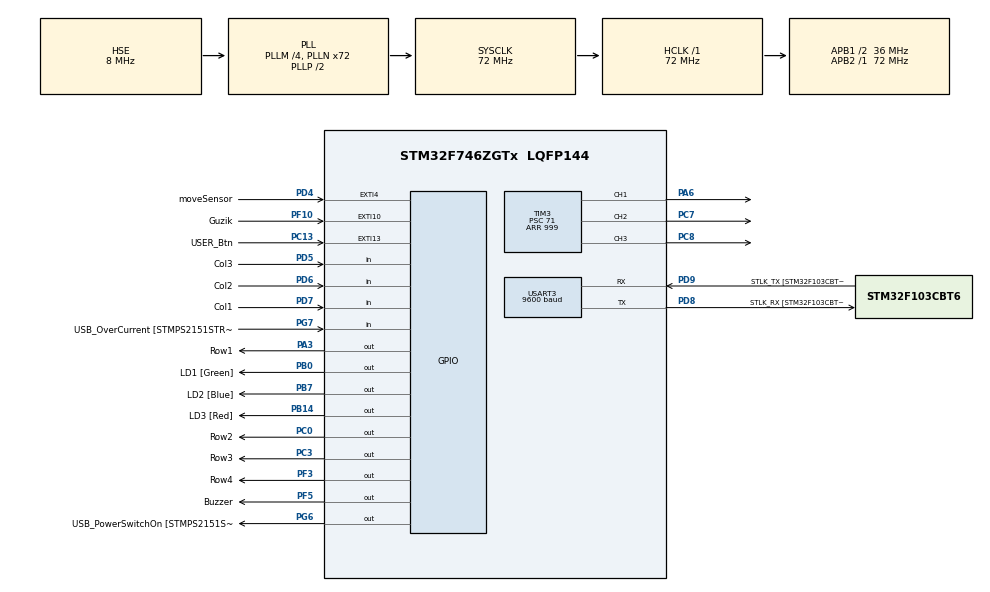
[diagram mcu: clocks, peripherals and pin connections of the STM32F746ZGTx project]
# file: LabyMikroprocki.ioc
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Mcu.Family=STM32F7
Mcu.Name=STM32F746ZGTx
Mcu.Package=LQFP144
NVIC.EXTI15_10_IRQn=true\:0\:0\:false\:false\:true\:true\:true\:true
NVIC.EXTI4_IRQn=true\:0\:0\:false\:false\:true\:true\:true\:true
NVIC.PriorityGroup=NVIC_PRIORITYGROUP_4
NVIC.RCC_IRQn=true\:0\:0\:false\:false\:true\:true\:false\:true
NVIC.TIM2_IRQn=true\:0\:0\:false\:false\:true\:true\:true\:true
NVIC.USART3_IRQn=true\:0\:0\:false\:false\:true\:true\:true\:true
PA1.GPIO_Label=RMII_REF_CLK [LAN8742A-CZ-TR_REFCLK0]
PA1.Signal=ETH_REF_CLK
PA10.GPIO_Label=USB_ID
PA10.Signal=USB_OTG_FS_ID
PA11.GPIO_Label=USB_DM
PA11.Signal=USB_OTG_FS_DM
PA12.GPIO_Label=USB_DP
PA12.Signal=USB_OTG_FS_DP
PA13.GPIO_Label=TMS
PA13.Mode=Serial_Wire
PA13.Signal=SYS_JTMS-SWDIO
PA14.GPIO_Label=TCK
PA14.Mode=Serial_Wire
PA14.Signal=SYS_JTCK-SWCLK
PA2.GPIO_Label=RMII_MDIO [LAN8742A-CZ-TR_MDIO]
PA2.Signal=ETH_MDIO
PA3.GPIO_Label=Row1
PA3.Signal=GPIO_Output
PA6.Signal=S_TIM3_CH1
PA7.GPIO_Label=RMII_CRS_DV [LAN8742A-CZ-TR_CRS_DV]
PA7.Signal=ETH_CRS_DV
PA8.GPIO_Label=USB_SOF [TP1]
PA8.Signal=USB_OTG_FS_SOF
PA9.GPIO_Label=USB_VBUS
PA9.Signal=USB_OTG_FS_VBUS
PB0.GPIO_Label=LD1 [Green]
PB0.Signal=GPIO_Output
PB13.GPIO_Label=RMII_TXD1 [LAN8742A-CZ-TR_TXD1]
PB13.Signal=ETH_TXD1
PB14.GPIO_Label=LD3 [Red]
PB14.Signal=GPIO_Output
PB3.GPIO_Label=SW0
PB3.Signal=SYS_JTDO-SWO
PB7.GPIO_Label=LD2 [Blue]
PB7.Signal=GPIO_Output
PC0.GPIO_Label=Row2
PC0.Signal=GPIO_Output
PC1.GPIO_Label=RMII_MDC [LAN8742A-CZ-TR_MDC]
PC1.Signal=ETH_MDC
PC13.GPIO_Label=USER_Btn
PC13.Signal=GPXTI13
PC14/OSC32_IN.Mode=LSE-External-Oscillator
PC14/OSC32_IN.Signal=RCC_OSC32_IN
PC15/OSC32_OUT.Mode=LSE-External-Oscillator
PC15/OSC32_OUT.Signal=RCC_OSC32_OUT
PC3.GPIO_Label=Row3
PC3.Signal=GPIO_Output
PC4.GPIO_Label=RMII_RXD0 [LAN8742A-CZ-TR_RXD0]
PC4.Signal=ETH_RXD0
PC5.GPIO_Label=RMII_RXD1 [LAN8742A-CZ-TR_RXD1]
PC5.Signal=ETH_RXD1
PC7.Signal=S_TIM3_CH2
PC8.Signal=S_TIM3_CH3
PD4.GPIO_Label=moveSensor
PD4.Signal=GPXTI4
PD5.GPIO_Label=Col3
PD5.Signal=GPIO_Input
PD6.GPIO_Label=Col2
PD6.Signal=GPIO_Input
PD7.GPIO_Label=Col1
PD7.Signal=GPIO_Input
PD8.GPIO_Label=STLK_RX [STM32F103CBT6_PA3]
PD8.GPIO_PuPd=GPIO_PULLUP
PD8.Mode=Asynchronous
PD8.Signal=USART3_TX
PD9.GPIO_Label=STLK_TX [STM32F103CBT6_PA2]
PD9.GPIO_PuPd=GPIO_PULLUP
PD9.Mode=Asynchronous
PD9.Signal=USART3_RX
PF10.GPIO_Label=Guzik
PF10.Signal=GPXTI10
PF3.GPIO_Label=Row4
PF3.Signal=GPIO_Output
PF5.GPIO_Label=Buzzer
PF5.PinState=GPIO_PIN_SET
PF5.Signal=GPIO_Output
PG11.GPIO_Label=RMII_TX_EN [LAN8742A-CZ-TR_TXEN]
PG11.Signal=ETH_TX_EN
PG13.GPIO_Label=RMII_TXD0 [LAN8742A-CZ-TR_TXD0]
PG13.Signal=ETH_TXD0
PG6.GPIO_Label=USB_PowerSwitchOn [STMPS2151STR_EN]
PG6.PinState=GPIO_PIN_RESET
PG6.Signal=GPIO_Output
PG7.GPIO_Label=USB_OverCurrent [STMPS2151STR_FAULT]
PG7.Signal=GPIO_Input
PH0/OSC_IN.GPIO_Label=MCO [STM32F103CBT6_PA8]
PH0/OSC_IN.Mode=HSE-External-Clock-Source
PH0/OSC_IN.Signal=RCC_OSC_IN
PH1/OSC_OUT.Mode=HSE-External-Clock-Source
PH1/OSC_OUT.Signal=RCC_OSC_OUT
ProjectManager.HeapSize=0x200
ProjectManager.StackSize=0x400
ProjectManager.TargetToolchain=STM32CubeIDE
RCC.48MHZClocksFreq_Value=24000000
RCC.AHBFreq_Value=72000000
RCC.APB1CLKDivider=RCC_HCLK_DIV2
RCC.APB1Freq_Value=36000000
RCC.APB1TimFreq_Value=72000000
RCC.APB2Freq_Value=72000000
RCC.APB2TimFreq_Value=72000000
RCC.CortexFreq_Value=72000000
RCC.HCLKFreq_Value=72000000
RCC.HSE_VALUE=8000000
RCC.HSI_VALUE=16000000
RCC.PLLM=4
RCC.PLLMUL=RCC_PLL_MUL9
RCC.PLLN=72
RCC.PLLQ=3
RCC.PLLSourceVirtual=RCC_PLLSOURCE_HSE
RCC.PRESCALERUSB=RCC_USBCLKSOURCE_PLL_DIV1_5
RCC.SYSCLKFreq_VALUE=72000000
RCC.SYSCLKSource=RCC_SYSCLKSOURCE_PLLCLK
RCC.SYSCLKSourceVirtual=RCC_SYSCLKSOURCE_PLLCLK
RCC.USBFreq_Value=48000000
RCC.VCOOutputFreq_Value=144000000
SH.S_TIM3_CH1.0=TIM3_CH1,PWM Generation1 CH1
SH.S_TIM3_CH2.0=TIM3_CH2,PWM Generation2 CH2
SH.S_TIM3_CH3.0=TIM3_CH3,PWM Generation3 CH3
TIM2.Period=299999
TIM2.Prescaler=7199
TIM3.Channel-PWM\ Generation1\ CH1=TIM_CHANNEL_1
TIM3.Channel-PWM\ Generation2\ CH2=TIM_CHANNEL_2
TIM3.Channel-PWM\ Generation3\ CH3=TIM_CHANNEL_3
TIM3.Period=999
TIM3.Prescaler=71
USART3.BaudRate=9600
USART3.VirtualMode-Asynchronous=VM_ASYNC
VP_TIM2_VS_ClockSourceINT.Mode=Internal
VP_TIM3_VS_ClockSourceINT.Mode=Internal
board=NUCLEO-F746ZG

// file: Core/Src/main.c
/* USER CODE BEGIN Header */
/**
 ******************************************************************************
 * @file           : main.c
 * @brief          : Main program body
 ******************************************************************************
 * @attention
 *
 * Copyright (c) 2023 STMicroelectronics.
 * All rights reserved.
 *
 * This software is licensed under terms that can be found in the LICENSE file
 * in the root directory of this software component.
 * If no LICENSE file comes with this software, it is provided AS-IS.
 *
 ******************************************************************************
 */
/* USER CODE END Header */
#include "main.h"
#include "tim.h"
#include "usart.h"
#include "gpio.h"

/* USER CODE BEGIN Includes */
#include "string.h"
/* USER CODE END Includes */

void SystemClock_Config(void);

/* USER CODE BEGIN 0 */
char moveDetectedMessage[] = "Move detected!\n";
char badPinMessage[] = "Bad pin!\n";
char goodPinMessage[] = "Good pin!\n";
char activatedBuzzerMessage[] = "Buzzer has been activated!\n";
uint8_t keyboard;
uint8_t codeSet[4];
uint8_t codeSetIndex = 0;
uint8_t codeUser[4];
uint8_t codeUserIndex = 0;
uint8_t phase = 0;
uint8_t firstTrigger = 0;

void activateBuzzer(void);
void deactivateBuzzer(void);
void phase0LED(void);
void phase1LED(void);
void phase2LED(void);
void activatedBuzzerLED(void);

void HAL_GPIO_EXTI_Callback(uint16_t GPIO_Pin) {
	if (GPIO_Pin == moveSensor_Pin) {
		HAL_UART_Transmit(&huart3, (uint8_t*) moveDetectedMessage,
				strlen(moveDetectedMessage), 1000);
		if (phase == 2) {
			activateBuzzer();
			activatedBuzzerLED();
		}
	}
}

void HAL_TIM_PeriodElapsedCallback(TIM_HandleTypeDef *htim) {
	if (htim == &htim2) {
		if (firstTrigger == 0) {
			firstTrigger++;
			return;
		}
		HAL_UART_Transmit(&huart3, (uint8_t*) activatedBuzzerMessage, strlen(activatedBuzzerMessage),
				1000);
		if (HAL_GPIO_ReadPin(moveSensor_GPIO_Port, moveSensor_Pin) == 1) {
			activateBuzzer();
		}

		firstTrigger = 0;
		phase = 2;
		phase2LED();
		HAL_TIM_Base_Stop_IT(&htim2);
	}
}

void activateBuzzer(void) {
	HAL_GPIO_WritePin(Buzzer_GPIO_Port, Buzzer_Pin, 0);
}

void deactivateBuzzer(void) {
	HAL_GPIO_WritePin(Buzzer_GPIO_Port, Buzzer_Pin, 1);
}

char readKeypad(void) {
	/* Make ROW 1 LOW and all other ROWs HIGH */
	HAL_GPIO_WritePin(Row1_GPIO_Port, Row1_Pin, GPIO_PIN_RESET); //Pull the R1 low
	HAL_GPIO_WritePin(Row2_GPIO_Port, Row2_Pin, GPIO_PIN_SET); // Pull the R2 High
	HAL_GPIO_WritePin(Row3_GPIO_Port, Row3_Pin, GPIO_PIN_SET); // Pull the R3 High
	HAL_GPIO_WritePin(Row4_GPIO_Port, Row4_Pin, GPIO_PIN_SET); // Pull the R4 High

	if (!(HAL_GPIO_ReadPin(Col1_GPIO_Port, Col1_Pin)))   // if the Col 1 is low
	{
		while (!(HAL_GPIO_ReadPin(Col1_GPIO_Port, Col1_Pin)))
			;   // wait till the button is pressed
		return '1';
	}

	if (!(HAL_GPIO_ReadPin(Col2_GPIO_Port, Col2_Pin)))   // if the Col 2 is low
	{
		while (!(HAL_GPIO_ReadPin(Col2_GPIO_Port, Col2_Pin)))
			;   // wait till the button is pressed
		return '2';
	}

	if (!(HAL_GPIO_ReadPin(Col3_GPIO_Port, Col3_Pin)))   // if the Col 3 is low
	{
		while (!(HAL_GPIO_ReadPin(Col3_GPIO_Port, Col3_Pin)))
			;   // wait till the button is pressed
		return '3';
	}

	/* Make ROW 2 LOW and all other ROWs HIGH */
	HAL_GPIO_WritePin(Row1_GPIO_Port, Row1_Pin, GPIO_PIN_SET); //Pull the R1 low
	HAL_GPIO_WritePin(Row2_GPIO_Port, Row2_Pin, GPIO_PIN_RESET); // Pull the R2 High
	HAL_GPIO_WritePin(Row3_GPIO_Port, Row3_Pin, GPIO_PIN_SET); // Pull the R3 High
	HAL_GPIO_WritePin(Row4_GPIO_Port, Row4_Pin, GPIO_PIN_SET); // Pull the R4 High

	if (!(HAL_GPIO_ReadPin(Col1_GPIO_Port, Col1_Pin)))   // if the Col 1 is low
	{
		while (!(HAL_GPIO_ReadPin(Col1_GPIO_Port, Col1_Pin)))
			;   // wait till the button is pressed
		return '4';
	}

	if (!(HAL_GPIO_ReadPin(Col2_GPIO_Port, Col2_Pin)))   // if the Col 2 is low
	{
		while (!(HAL_GPIO_ReadPin(Col2_GPIO_Port, Col2_Pin)))
			;   // wait till the button is pressed
		return '5';
	}

	if (!(HAL_GPIO_ReadPin(Col3_GPIO_Port, Col3_Pin)))   // if the Col 3 is low
	{
		while (!(HAL_GPIO_ReadPin(Col3_GPIO_Port, Col3_Pin)))
			;   // wait till the button is pressed
		return '6';
	}

	/* Make ROW 3 LOW and all other ROWs HIGH */
	HAL_GPIO_WritePin(Row1_GPIO_Port, Row1_Pin, GPIO_PIN_SET); //Pull the R1 low
	HAL_GPIO_WritePin(Row2_GPIO_Port, Row2_Pin, GPIO_PIN_SET); // Pull the R2 High
	HAL_GPIO_WritePin(Row3_GPIO_Port, Row3_Pin, GPIO_PIN_RESET); // Pull the R3 High
	HAL_GPIO_WritePin(Row4_GPIO_Port, Row4_Pin, GPIO_PIN_SET); // Pull the R4 High

	if (!(HAL_GPIO_ReadPin(Col1_GPIO_Port, Col1_Pin)))   // if the Col 1 is low
	{
		while (!(HAL_GPIO_ReadPin(Col1_GPIO_Port, Col1_Pin)))
			;   // wait till the button is pressed
		return '7';
	}

	if (!(HAL_GPIO_ReadPin(Col2_GPIO_Port, Col2_Pin)))   // if the Col 2 is low
	{
		while (!(HAL_GPIO_ReadPin(Col2_GPIO_Port, Col2_Pin)))
			;   // wait till the button is pressed
		return '8';
	}

	if (!(HAL_GPIO_ReadPin(Col3_GPIO_Port, Col3_Pin)))   // if the Col 3 is low
	{
		while (!(HAL_GPIO_ReadPin(Col3_GPIO_Port, Col3_Pin)))
			;   // wait till the button is pressed
		return '9';
	}

	/* Make ROW 4 LOW and all other ROWs HIGH */
	HAL_GPIO_WritePin(Row1_GPIO_Port, Row1_Pin, GPIO_PIN_SET); //Pull the R1 low
	HAL_GPIO_WritePin(Row2_GPIO_Port, Row2_Pin, GPIO_PIN_SET); // Pull the R2 High
	HAL_GPIO_WritePin(Row3_GPIO_Port, Row3_Pin, GPIO_PIN_SET); // Pull the R3 High
	HAL_GPIO_WritePin(Row4_GPIO_Port, Row4_Pin, GPIO_PIN_RESET); // Pull the R4 High

	if (!(HAL_GPIO_ReadPin(Col1_GPIO_Port, Col1_Pin)))   // if the Col 1 is low
	{
		while (!(HAL_GPIO_ReadPin(Col1_GPIO_Port, Col1_Pin)))
			;   // wait till the button is pressed
		return '*';
	}

	if (!(HAL_GPIO_ReadPin(Col2_GPIO_Port, Col2_Pin)))   // if the Col 2 is low
	{
		while (!(HAL_GPIO_ReadPin(Col2_GPIO_Port, Col2_Pin)))
			;   // wait till the button is pressed
		return '0';
	}

	if (!(HAL_GPIO_ReadPin(Col3_GPIO_Port, Col3_Pin)))   // if the Col 3 is low
	{
		while (!(HAL_GPIO_ReadPin(Col3_GPIO_Port, Col3_Pin)))
			;   // wait till the button is pressed
		return '#';
	}
}

void handleBadPin(void) {
	HAL_UART_Transmit(&huart3, (uint8_t*) badPinMessage, strlen(badPinMessage),
			1000);
	memset(&codeUser[0], '\0', 4);
	codeUserIndex = 0;
}

void handleGoodPin(void) {
	deactivateBuzzer();
	HAL_TIM_Base_Stop_IT(&htim2);
	HAL_UART_Transmit(&huart3, (uint8_t*) goodPinMessage,
			strlen(goodPinMessage), 1000);
	memset(&codeSet[0], '\0', 4);
	memset(&codeUser[0], '\0', 4);
	codeSetIndex = 0;
	codeUserIndex = 0;
	phase = 0;
	firstTrigger = 0;
	phase0LED();
}

void phase0LED() {
	  __HAL_TIM_SET_COMPARE(&htim3, TIM_CHANNEL_1, 0);
	  __HAL_TIM_SET_COMPARE(&htim3, TIM_CHANNEL_2, 500);
	  __HAL_TIM_SET_COMPARE(&htim3, TIM_CHANNEL_3, 0);
}

void phase1LED() {
	  __HAL_TIM_SET_COMPARE(&htim3, TIM_CHANNEL_1, 700);
	  __HAL_TIM_SET_COMPARE(&htim3, TIM_CHANNEL_2, 500);
	  __HAL_TIM_SET_COMPARE(&htim3, TIM_CHANNEL_3, 0);
}

void phase2LED() {
	  __HAL_TIM_SET_COMPARE(&htim3, TIM_CHANNEL_1, 200);
	  __HAL_TIM_SET_COMPARE(&htim3, TIM_CHANNEL_2, 0);
	  __HAL_TIM_SET_COMPARE(&htim3, TIM_CHANNEL_3, 0);
}

void activatedBuzzerLED() {
	  __HAL_TIM_SET_COMPARE(&htim3, TIM_CHANNEL_1, 1000);
	  __HAL_TIM_SET_COMPARE(&htim3, TIM_CHANNEL_2, 0);
	  __HAL_TIM_SET_COMPARE(&htim3, TIM_CHANNEL_3, 0);
}
/* USER CODE END 0 */

int main(void)
{

  /* MCU Configuration--------------------------------------------------------*/

  /* Reset of all peripherals, Initializes the Flash interface and the Systick. */
  HAL_Init();

  /* Configure the system clock */
  SystemClock_Config();

  /* Initialize all configured peripherals */
  MX_GPIO_Init();
  MX_USART3_UART_Init();
  MX_TIM2_Init();
  MX_TIM3_Init();
  /* USER CODE BEGIN 2 */
  phase0LED();
  HAL_TIM_PWM_Start(&htim3, TIM_CHANNEL_1);
  HAL_TIM_PWM_Start(&htim3, TIM_CHANNEL_2);
  HAL_TIM_PWM_Start(&htim3, TIM_CHANNEL_3);
  /* USER CODE END 2 */

  /* Infinite loop */
  /* USER CODE BEGIN WHILE */
	while (1) {

		if (phase == 0) {
			keyboard = readKeypad();
			if (keyboard != 0x01) {
				codeSet[codeSetIndex] = keyboard;
				codeSetIndex++;
				if (codeSetIndex >= 4) {
					HAL_TIM_Base_Start_IT(&htim2);
					phase = 1;
					phase1LED();
				}

				HAL_UART_Transmit(&huart3, &keyboard, 1, 1000);
				HAL_UART_Transmit(&huart3, (uint8_t*) "\n", 1, 1000);
			}

			HAL_Delay(200);
		}

		if (phase == 1 || phase == 2) {
			keyboard = readKeypad();
			if (keyboard != 0x01) {
				codeUser[codeUserIndex] = keyboard;
				codeUserIndex++;
				HAL_UART_Transmit(&huart3, &keyboard, 1, 1000);
				HAL_UART_Transmit(&huart3, (uint8_t*) "\n", 1, 1000);
				if (codeUserIndex >= 4) {
					if (codeUser[0] == codeSet[0] && codeUser[1] == codeSet[1]
							&& codeUser[2] == codeSet[2]
							&& codeUser[3] == codeSet[3]) {
						handleGoodPin();
					} else {
						handleBadPin();
					}
				}
			}

			HAL_Delay(200);
		}

    /* USER CODE END WHILE */

	}
}

void SystemClock_Config(void)
{
  RCC_OscInitTypeDef RCC_OscInitStruct = {0};
  RCC_ClkInitTypeDef RCC_ClkInitStruct = {0};

  /** Configure LSE Drive Capability
  */
  HAL_PWR_EnableBkUpAccess();

  /** Configure the main internal regulator output voltage
  */
  __HAL_RCC_PWR_CLK_ENABLE();
  __HAL_PWR_VOLTAGESCALING_CONFIG(PWR_REGULATOR_VOLTAGE_SCALE3);

  /** Initializes the RCC Oscillators according to the specified parameters
  * in the RCC_OscInitTypeDef structure.
  */
  RCC_OscInitStruct.OscillatorType = RCC_OSCILLATORTYPE_HSE;
  RCC_OscInitStruct.HSEState = RCC_HSE_BYPASS;
  RCC_OscInitStruct.PLL.PLLState = RCC_PLL_ON;
  RCC_OscInitStruct.PLL.PLLSource = RCC_PLLSOURCE_HSE;
  RCC_OscInitStruct.PLL.PLLM = 4;
  RCC_OscInitStruct.PLL.PLLN = 72;
  RCC_OscInitStruct.PLL.PLLP = RCC_PLLP_DIV2;
  RCC_OscInitStruct.PLL.PLLQ = 3;
  if (HAL_RCC_OscConfig(&RCC_OscInitStruct) != HAL_OK)
  {
    Error_Handler();
  }

  /** Initializes the CPU, AHB and APB buses clocks
  */
  RCC_ClkInitStruct.ClockType = RCC_CLOCKTYPE_HCLK|RCC_CLOCKTYPE_SYSCLK
                              |RCC_CLOCKTYPE_PCLK1|RCC_CLOCKTYPE_PCLK2;
  RCC_ClkInitStruct.SYSCLKSource = RCC_SYSCLKSOURCE_PLLCLK;
  RCC_ClkInitStruct.AHBCLKDivider = RCC_SYSCLK_DIV1;
  RCC_ClkInitStruct.APB1CLKDivider = RCC_HCLK_DIV2;
  RCC_ClkInitStruct.APB2CLKDivider = RCC_HCLK_DIV1;

  if (HAL_RCC_ClockConfig(&RCC_ClkInitStruct, FLASH_LATENCY_2) != HAL_OK)
  {
    Error_Handler();
  }
}

void Error_Handler(void)
{
	__disable_irq();
	while (1) {
	}
}
